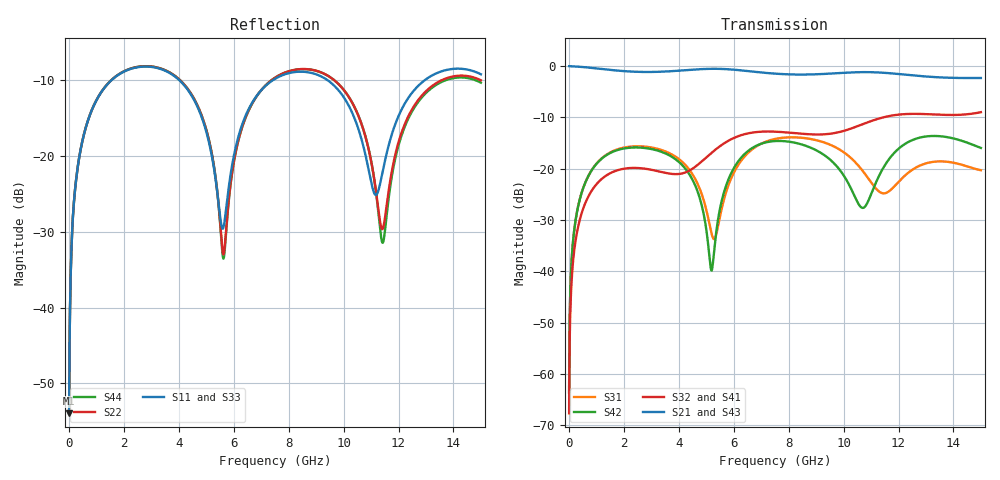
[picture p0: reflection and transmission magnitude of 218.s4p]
! Created with skrf 1.8.0 (http://scikit-rf.org).
# GHz S RI R 50.0
!freq ReS11 ImS11 ReS12 ImS12 ReS13 ImS13
! ReS14 ImS14
! ReS21 ImS21 ReS22 ImS22 ReS23 ImS23
! ReS24 ImS24
! ReS31 ImS31 ReS32 ImS32 ReS33 ImS33
! ReS34 ImS34
! ReS41 ImS41 ReS42 ImS42 ReS43 ImS43
! ReS44 ImS44
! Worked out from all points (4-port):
!   2499 points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, 5 MHz to 15 GHz, reference 50 ohm
!   strongest paths, dB at 5 MHz, 3.476 GHz, 7.19 GHz, 11.1 GHz, 15 GHz:
!     S21: 0.0, -1.1, -1.3, -1.2, -2.3
!     S43: 0.0, -1.1, -1.3, -1.2, -2.3
!     S32: -67.6, -20.8, -12.7, -10.5, -9.0
!     S41: -67.6, -20.8, -12.8, -10.5, -9.0
!     S42: -63.6, -16.9, -14.8, -23.7, -15.9
!     S31: -63.6, -16.5, -14.7, -23.3, -20.3
!   lowest |S11| = -54.0 dB at 5 MHz (marker M1), VSWR 1.00, Z = 50.2 + j0.121 ohm
!   |S11| at or under -10 dB: start of sweep to 1.546 GHz; 4.02 GHz to 7.42 GHz (3.4 GHz wide, 59.4 % of centre); 9.419 GHz to 12.95 GHz (3.533 GHz wide, 31.6 % of centre)
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0.005  0.0016 0.00121  0.9984 -0.00311  8.1e-05 0.000657  -7.84e-05 -0.000408
       0.9984 -0.00311  0.0016 0.00121  -7.84e-05 -0.000408  8.08e-05 0.000657
       8.1e-05 0.000657  -7.84e-05 -0.000408  0.0016 0.00121  0.9984 -0.00311
       -7.84e-05 -0.000408  8.08e-05 0.000657  0.9984 -0.00311  0.0016 0.00121
0.3626511  0.0288 0.091  0.9602 -0.2228  0.0145 0.0444  -0.0117 -0.0271
           0.9602 -0.2228  0.0289 0.091  -0.0117 -0.0271  0.0138 0.0446
           0.0145 0.0444  -0.0117 -0.0271  0.0288 0.091  0.9602 -0.2227
           -0.0117 -0.0271  0.0138 0.0446  0.9602 -0.2227  0.0289 0.091
1.619545  0.273 0.1761  0.5387 -0.7354  0.1376 0.0582  -0.0935 -0.00426
          0.5387 -0.7354  0.2753 0.1746  -0.0935 -0.00417  0.1311 0.0673
          0.1376 0.0582  -0.0935 -0.00417  0.273 0.1761  0.5387 -0.7354
          -0.0935 -0.00426  0.1311 0.0673  0.5387 -0.7354  0.2753 0.1745
5.477282  0.0342 -0.0273  -0.929 -0.1432  -0.0157 0.0281  -0.0222 0.163
          -0.929 -0.1432  0.0237 -0.0343  -0.0205 0.1632  0.0121 0.0362
          -0.0157 0.0281  -0.0205 0.1632  0.0357 -0.0276  -0.9289 -0.1435
          -0.0222 0.163  0.0121 0.0362  -0.9289 -0.1435  0.0224 -0.0348
8.778658  0.3525 -0.043  0.0236 0.8287  0.1479 -0.1277  0.2028 -0.0733
          0.0236 0.8287  0.3686 -0.0548  0.2026 -0.0765  0.1521 -0.0541
          0.1479 -0.1277  0.2026 -0.0765  0.3512 -0.0422  0.0235 0.8291
          0.2028 -0.0733  0.1521 -0.0541  0.0235 0.8291  0.3681 -0.055
11.42351  0.0608 0.0503  0.8602 0.0609  -0.0467 0.034  0.0171 -0.3154
          0.8602 0.0609  0.033 0.00119  0.0104 -0.3155  0.0815 0.0573
          -0.0467 0.034  0.0104 -0.3155  0.0678 0.0475  0.8602 0.0623
          0.0171 -0.3154  0.0815 0.0573  0.8602 0.0623  0.0267 -0.00132
15  0.3369 -0.0802  -0.1972 -0.74  -0.0311 -0.0917  -0.3428 0.0932
    -0.1972 -0.74  0.3112 -0.0546  -0.3408 0.1017  -0.032 -0.1563
    -0.0311 -0.0917  -0.3408 0.1017  0.3234 -0.086  -0.1991 -0.7438
    -0.3428 0.0932  -0.032 -0.1563  -0.1991 -0.7438  0.3017 -0.0435
